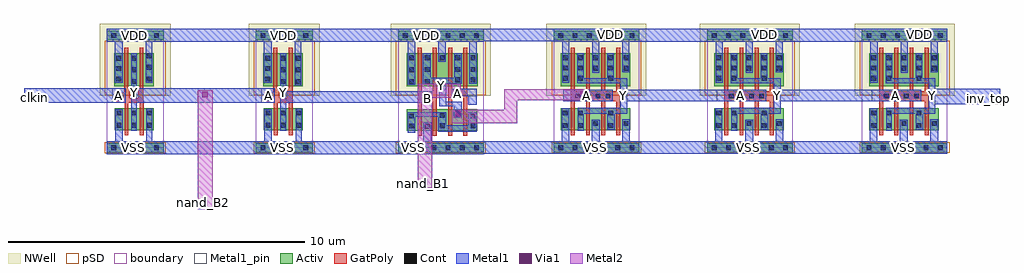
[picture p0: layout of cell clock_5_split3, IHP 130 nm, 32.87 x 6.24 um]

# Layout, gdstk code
import gdstk
lib = gdstk.Library(unit=1e-6, precision=1e-09)
def R(c, l, rs):  # rectangles x0, y0, x1, y1
    for r in rs: c.add(gdstk.rectangle(r[:2], r[2:], *l))
def A(c, l, x, y, w, h, nx, ny, dx, dy):  # array of equal rectangles
    R(c, l, [(x+i*dx, y+j*dy, x+i*dx+w, y+j*dy+h) for i in range(nx) for j in range(ny)])
def P(c, l, *ps):  # polygons
    for p in ps: c.add(gdstk.Polygon(p, *l))
Activ = (1, 0)
GatPoly = (5, 0)
Cont = (6, 0)
Metal1 = (8, 0)
Metal1_pin = (8, 2)
Metal2 = (10, 0)
pSD = (14, 0)
Via1 = (19, 0)
NWell = (31, 0)
boundary = (189, 4)

clock_5_split3 = lib.new_cell('clock_5_split3')
R(clock_5_split3, Activ, [(-0.8,-0.208,1.12,0.092), (4.221,-0.208,6.141,0.092), (9.012,-0.208,11.892,0.092), (14.25,-0.207,17.13,0.093), (19.418,-0.207,22.298,0.093), (24.634,-0.207,27.514,0.093), (9.297,0.517,11.682,1.237), (-0.535,0.532,0.79,1.272), (4.486,0.532,5.811,1.272), (14.495,0.533,16.835,1.273), (19.663,0.533,22.003,1.273), (24.879,0.533,27.219,1.273), (-0.545,2.002,0.78,3.122), (4.476,2.002,5.801,3.122), (9.312,2.002,11.692,3.122), (14.495,2.003,16.835,3.123), (19.663,2.003,22.003,3.123), (24.879,2.003,27.219,3.123), (-0.8,3.572,1.12,3.872), (4.221,3.572,6.141,3.872), (9.012,3.572,11.892,3.872), (14.25,3.573,17.13,3.873), (19.418,3.573,22.298,3.873), (24.634,3.573,27.514,3.873)])
P(clock_5_split3, GatPoly, [(-0.195,0.352),(-0.195,1.462),(-0.495,1.462),(-0.495,1.792),(-0.205,1.792),(-0.205,3.302),(-0.075,3.302),(-0.075,1.927),(-0.015,1.927),(-0.015,1.612),(0.255,1.612),(0.255,1.927),(0.31,1.927),(0.31,3.302),(0.44,3.302),(0.44,1.527),(0.445,1.527),(0.445,0.352),(0.315,0.352),(0.315,1.462),(-0.065,1.462),(-0.065,0.352)],
  [(4.826,0.352),(4.826,1.462),(4.526,1.462),(4.526,1.792),(4.816,1.792),(4.816,3.302),(4.946,3.302),(4.946,1.927),(5.006,1.927),(5.006,1.612),(5.276,1.612),(5.276,1.927),(5.331,1.927),(5.331,3.302),(5.461,3.302),(5.461,1.527),(5.466,1.527),(5.466,0.352),(5.336,0.352),(5.336,1.462),(4.956,1.462),(4.956,0.352)],
  [(9.672,0.337),(9.672,3.302),(9.802,3.302),(9.802,1.817),(10.182,1.817),(10.182,3.302),(10.312,3.302),(10.312,0.337),(10.182,0.337),(10.182,1.507),(9.802,1.507),(9.802,0.337)],
  [(10.702,0.337),(10.702,3.302),(10.832,3.302),(10.832,1.932),(11.212,1.932),(11.212,3.302),(11.342,3.302),(11.342,0.337),(11.212,0.337),(11.212,1.627),(10.832,1.627),(10.832,0.337)],
  [(14.835,0.353),(14.835,3.303),(14.965,3.303),(14.965,1.843),(15.345,1.843),(15.345,3.303),(15.475,3.303),(15.475,1.843),(15.855,1.843),(15.855,3.303),(15.985,3.303),(15.985,1.843),(16.365,1.843),(16.365,3.303),(16.495,3.303),(16.495,0.353),(16.365,0.353),(16.365,1.513),(15.985,1.513),(15.985,0.353),(15.855,0.353),(15.855,1.513),(15.475,1.513),(15.475,0.353),(15.345,0.353),(15.345,1.513),(14.965,1.513),(14.965,0.353)],
  [(20.003,0.353),(20.003,3.303),(20.133,3.303),(20.133,1.843),(20.513,1.843),(20.513,3.303),(20.643,3.303),(20.643,1.843),(21.023,1.843),(21.023,3.303),(21.153,3.303),(21.153,1.843),(21.533,1.843),(21.533,3.303),(21.663,3.303),(21.663,0.353),(21.533,0.353),(21.533,1.513),(21.153,1.513),(21.153,0.353),(21.023,0.353),(21.023,1.513),(20.643,1.513),(20.643,0.353),(20.513,0.353),(20.513,1.513),(20.133,1.513),(20.133,0.353)],
  [(25.219,0.353),(25.219,3.303),(25.349,3.303),(25.349,1.843),(25.729,1.843),(25.729,3.303),(25.859,3.303),(25.859,1.843),(26.239,1.843),(26.239,3.303),(26.369,3.303),(26.369,1.843),(26.749,1.843),(26.749,3.303),(26.879,3.303),(26.879,0.353),(26.749,0.353),(26.749,1.513),(26.369,1.513),(26.369,0.353),(26.239,0.353),(26.239,1.513),(25.859,1.513),(25.859,0.353),(25.729,0.353),(25.729,1.513),(25.349,1.513),(25.349,0.353)])
A(clock_5_split3, Cont, 10.612, -0.138, 0.16, 0.16, 3, 2, 0.48, 3.78)
A(clock_5_split3, Cont, 14.985, 1.598, 0.16, 0.16, 4, 1, 0.34, 0)
A(clock_5_split3, Cont, 20.153, 1.598, 0.16, 0.16, 4, 1, 0.34, 0)
A(clock_5_split3, Cont, 25.369, 1.598, 0.16, 0.16, 4, 1, 0.34, 0)
A(clock_5_split3, Cont, 0.04, 2.087, 0.16, 0.16, 1, 3, 0, 0.395)
A(clock_5_split3, Cont, 5.061, 2.087, 0.16, 0.16, 1, 3, 0, 0.395)
A(clock_5_split3, Cont, 5.571, 2.087, 0.16, 0.16, 1, 3, 0, 0.395)
A(clock_5_split3, Cont, 9.912, 2.092, 0.16, 0.16, 1, 3, 0, 0.4)
A(clock_5_split3, Cont, 0.55, 2.171, 0.16, 0.16, 1, 3, 0, 0.395)
A(clock_5_split3, Cont, 14.565, 2.888, 0.16, 0.16, 5, 1, 0.51, 0)
A(clock_5_split3, Cont, 19.733, 2.888, 0.16, 0.16, 5, 1, 0.51, 0)
A(clock_5_split3, Cont, 24.949, 2.888, 0.16, 0.16, 5, 1, 0.51, 0)
R(clock_5_split3, Cont, [(-0.64,-0.138,-0.48,0.022), (-0.64,-0.138,-0.48,0.022), (-0.16,-0.138,0,0.022), (-0.16,-0.138,0,0.022), (0.32,-0.138,0.48,0.022), (0.32,-0.138,0.48,0.022), (0.8,-0.138,0.96,0.022), (0.8,-0.138,0.96,0.022), (4.381,-0.138,4.541,0.022), (4.381,-0.138,4.541,0.022), (4.861,-0.138,5.021,0.022), (4.861,-0.138,5.021,0.022), (5.341,-0.138,5.501,0.022), (5.341,-0.138,5.501,0.022), (5.821,-0.138,5.981,0.022), (5.821,-0.138,5.981,0.022), (9.172,-0.138,9.332,0.022), (9.172,-0.138,9.332,0.022), (9.652,-0.138,9.812,0.022), (9.652,-0.138,9.812,0.022), (10.132,-0.138,10.292,0.022), (10.132,-0.138,10.292,0.022), (10.612,-0.138,10.772,0.022), (14.41,-0.137,14.57,0.023), (14.41,-0.137,14.57,0.023), (14.89,-0.137,15.05,0.023), (14.89,-0.137,15.05,0.023), (15.37,-0.137,15.53,0.023), (15.37,-0.137,15.53,0.023), (15.85,-0.137,16.01,0.023), (15.85,-0.137,16.01,0.023), (16.33,-0.137,16.49,0.023), (16.33,-0.137,16.49,0.023), (16.81,-0.137,16.97,0.023), (16.81,-0.137,16.97,0.023), (19.578,-0.137,19.738,0.023), (19.578,-0.137,19.738,0.023), (20.058,-0.137,20.218,0.023), (20.058,-0.137,20.218,0.023), (20.538,-0.137,20.698,0.023), (20.538,-0.137,20.698,0.023), (21.018,-0.137,21.178,0.023), (21.018,-0.137,21.178,0.023), (21.498,-0.137,21.658,0.023), (21.498,-0.137,21.658,0.023), (21.978,-0.137,22.138,0.023), (21.978,-0.137,22.138,0.023), (24.794,-0.137,24.954,0.023), (24.794,-0.137,24.954,0.023), (25.274,-0.137,25.434,0.023), (25.274,-0.137,25.434,0.023), (25.754,-0.137,25.914,0.023), (25.754,-0.137,25.914,0.023), (26.234,-0.137,26.394,0.023), (26.234,-0.137,26.394,0.023), (26.714,-0.137,26.874,0.023), (26.714,-0.137,26.874,0.023), (27.194,-0.137,27.354,0.023), (27.194,-0.137,27.354,0.023), (9.912,0.587,10.072,0.747), (9.392,0.592,9.552,0.752), (11.452,0.592,11.612,0.752), (10.422,0.602,10.582,0.762), (14.565,0.608,14.725,0.768), (15.075,0.608,15.235,0.768), (16.095,0.608,16.255,0.768), (19.733,0.608,19.893,0.768), (20.243,0.608,20.403,0.768), (21.263,0.608,21.423,0.768), (24.949,0.608,25.109,0.768), (25.459,0.608,25.619,0.768), (26.479,0.608,26.639,0.768), (-0.465,0.617,-0.305,0.777), (0.045,0.617,0.205,0.777), (0.56,0.617,0.72,0.777), (4.556,0.617,4.716,0.777), (5.066,0.617,5.226,0.777), (5.581,0.617,5.741,0.777), (15.585,0.678,15.745,0.838), (16.605,0.678,16.765,0.838), (20.753,0.678,20.913,0.838), (21.773,0.678,21.933,0.838), (25.969,0.678,26.129,0.838), (26.989,0.678,27.149,0.838), (9.387,0.932,9.547,1.092), (11.452,0.932,11.612,1.092), (10.422,0.947,10.582,1.107), (10.942,0.992,11.102,1.152), (-0.465,1.032,-0.305,1.192), (0.045,1.032,0.205,1.192), (0.56,1.032,0.72,1.192), (4.556,1.032,4.716,1.192), (5.066,1.032,5.226,1.192), (5.581,1.032,5.741,1.192), (14.565,1.033,14.725,1.193), (15.075,1.033,15.235,1.193), (16.095,1.033,16.255,1.193), (19.733,1.033,19.893,1.193), (20.243,1.033,20.403,1.193), (21.263,1.033,21.423,1.193), (24.949,1.033,25.109,1.193), (25.459,1.033,25.619,1.193), (26.479,1.033,26.639,1.193), (10.942,1.05,11.102,1.21), (-0.41,1.547,-0.25,1.707), (4.611,1.547,4.771,1.707), (9.912,1.582,10.072,1.742), (10.942,1.702,11.102,1.862), (9.382,2.082,9.542,2.242), (10.942,2.152,11.102,2.312), (11.452,2.152,11.612,2.312), (-0.475,2.177,-0.315,2.337), (4.546,2.177,4.706,2.337), (14.565,2.198,14.725,2.358), (15.075,2.198,15.235,2.358), (16.095,2.198,16.255,2.358), (19.733,2.198,19.893,2.358), (20.243,2.198,20.403,2.358), (21.263,2.198,21.423,2.358), (24.949,2.198,25.109,2.358), (25.459,2.198,25.619,2.358), (26.479,2.198,26.639,2.358), (9.382,2.482,9.542,2.642), (10.942,2.492,11.102,2.652), (11.452,2.492,11.612,2.652), (-0.475,2.532,-0.315,2.692), (4.546,2.532,4.706,2.692), (15.585,2.538,15.745,2.698), (16.605,2.538,16.765,2.698), (20.753,2.538,20.913,2.698), (21.773,2.538,21.933,2.698), (25.969,2.538,26.129,2.698), (26.989,2.538,27.149,2.698), (14.565,2.548,14.725,2.708), (15.075,2.548,15.235,2.708), (16.095,2.548,16.255,2.708), (19.733,2.548,19.893,2.708), (20.243,2.548,20.403,2.708), (21.263,2.548,21.423,2.708), (24.949,2.548,25.109,2.708), (25.459,2.548,25.619,2.708), (26.479,2.548,26.639,2.708), (-0.475,2.877,-0.315,3.037), (4.546,2.877,4.706,3.037), (9.382,2.892,9.542,3.052), (10.422,2.892,10.582,3.052), (10.942,2.892,11.102,3.052), (11.452,2.892,11.612,3.052), (-0.64,3.642,-0.48,3.802), (-0.64,3.642,-0.48,3.802), (-0.16,3.642,0,3.802), (-0.16,3.642,0,3.802), (0.32,3.642,0.48,3.802), (0.32,3.642,0.48,3.802), (0.8,3.642,0.96,3.802), (0.8,3.642,0.96,3.802), (4.381,3.642,4.541,3.802), (4.381,3.642,4.541,3.802), (4.861,3.642,5.021,3.802), (4.861,3.642,5.021,3.802), (5.341,3.642,5.501,3.802), (5.341,3.642,5.501,3.802), (5.821,3.642,5.981,3.802), (5.821,3.642,5.981,3.802), (9.172,3.642,9.332,3.802), (9.172,3.642,9.332,3.802), (9.652,3.642,9.812,3.802), (9.652,3.642,9.812,3.802), (10.132,3.642,10.292,3.802), (10.132,3.642,10.292,3.802), (10.612,3.642,10.772,3.802), (14.41,3.643,14.57,3.803), (14.41,3.643,14.57,3.803), (14.89,3.643,15.05,3.803), (14.89,3.643,15.05,3.803), (15.37,3.643,15.53,3.803), (15.37,3.643,15.53,3.803), (15.85,3.643,16.01,3.803), (15.85,3.643,16.01,3.803), (16.33,3.643,16.49,3.803), (16.33,3.643,16.49,3.803), (16.81,3.643,16.97,3.803), (16.81,3.643,16.97,3.803), (19.578,3.643,19.738,3.803), (19.578,3.643,19.738,3.803), (20.058,3.643,20.218,3.803), (20.058,3.643,20.218,3.803), (20.538,3.643,20.698,3.803), (20.538,3.643,20.698,3.803), (21.018,3.643,21.178,3.803), (21.018,3.643,21.178,3.803), (21.498,3.643,21.658,3.803), (21.498,3.643,21.658,3.803), (21.978,3.643,22.138,3.803), (21.978,3.643,22.138,3.803), (24.794,3.643,24.954,3.803), (24.794,3.643,24.954,3.803), (25.274,3.643,25.434,3.803), (25.274,3.643,25.434,3.803), (25.754,3.643,25.914,3.803), (25.754,3.643,25.914,3.803), (26.234,3.643,26.394,3.803), (26.234,3.643,26.394,3.803), (26.714,3.643,26.874,3.803), (26.714,3.643,26.874,3.803), (27.194,3.643,27.354,3.803), (27.194,3.643,27.354,3.803)])
R(clock_5_split3, Metal1, [(-3.584,1.462,-0.165,1.942), (14.575,1.513,16.25,1.893)])
P(clock_5_split3, Metal1, [(9.337,0.442),(9.337,1.142),(10.632,1.142),(10.632,0.702),(11.382,0.702),(11.382,1.142),(11.662,1.142),(11.662,0.472),(10.362,0.472),(10.362,0.977),(9.597,0.977),(9.597,0.442)],
  [(-0.8,-0.278),(-0.8,0.162),(-0.515,0.162),(-0.515,1.242),(-0.255,1.242),(-0.255,0.162),(0.54,0.162),(0.54,1.247),(0.74,1.247),(0.74,0.162),(4.506,0.162),(4.506,1.242),(4.766,1.242),(4.766,0.162),(5.561,0.162),(5.561,1.247),(5.761,1.247),(5.761,0.162),(9.862,0.162),(9.862,0.797),(10.122,0.797),(10.122,0.162),(11.892,0.162),(11.892,0.153),(14.52,0.153),(14.52,1.268),(14.77,1.268),(14.77,0.153),(15.53,0.153),(15.53,0.888),(15.8,0.888),(15.8,0.163),(16.555,0.163),(16.555,0.893),(16.815,0.893),(16.815,0.153),(19.688,0.153),(19.688,1.268),(19.938,1.268),(19.938,0.153),(20.698,0.153),(20.698,0.888),(20.968,0.888),(20.968,0.163),(21.723,0.163),(21.723,0.893),(21.983,0.893),(21.983,0.153),(24.904,0.153),(24.904,1.268),(25.154,1.268),(25.154,0.153),(25.914,0.153),(25.914,0.888),(26.184,0.888),(26.184,0.163),(26.939,0.163),(26.939,0.893),(27.199,0.893),(27.199,0.153),(27.514,0.153),(27.514,-0.267),(11.892,-0.267),(11.892,-0.278)],
  [(11.382,1.382),(11.382,1.672),(10.827,1.672),(10.827,1.922),(11.657,1.922),(11.657,1.382)],
  [(0.025,0.512),(0.025,3.122),(0.22,3.122),(0.22,1.942),(4.856,1.942),(4.856,1.462),(0.22,1.462),(0.22,0.512)],
  [(5.046,0.512),(5.046,3.122),(5.241,3.122),(5.241,1.84),(10.162,1.84),(10.162,1.456),(5.241,1.456),(5.241,0.512)],
  [(10.892,0.942),(10.892,1.332),(10.392,1.332),(10.392,2.082),(9.852,2.082),(9.852,3.122),(10.112,3.122),(10.112,2.302),(10.902,2.302),(10.902,3.122),(11.162,3.122),(11.162,2.102),(10.632,2.102),(10.632,1.492),(11.152,1.492),(11.152,0.942)],
  [(15.065,0.513),(15.065,1.283),(16.495,1.283),(16.495,2.113),(15.05,2.113),(15.05,3.123),(15.265,3.123),(15.265,2.283),(16.065,2.283),(16.065,3.118),(16.28,3.118),(16.28,2.283),(16.725,2.283),(16.725,1.893),(21.418,1.893),(21.418,1.513),(16.725,1.513),(16.725,1.088),(16.31,1.088),(16.31,0.538),(16.055,0.538),(16.055,1.088),(15.26,1.088),(15.26,0.513)],
  [(20.233,0.513),(20.233,1.283),(21.663,1.283),(21.663,2.113),(20.218,2.113),(20.218,3.123),(20.433,3.123),(20.433,2.283),(21.233,2.283),(21.233,3.118),(21.448,3.118),(21.448,2.283),(21.893,2.283),(21.893,1.893),(26.634,1.893),(26.634,1.513),(21.893,1.513),(21.893,1.088),(21.478,1.088),(21.478,0.538),(21.223,0.538),(21.223,1.088),(20.428,1.088),(20.428,0.513)],
  [(25.449,0.513),(25.449,1.283),(26.879,1.283),(26.879,2.113),(25.434,2.113),(25.434,3.123),(25.649,3.123),(25.649,2.283),(26.449,2.283),(26.449,3.118),(26.664,3.118),(26.664,2.283),(27.109,2.283),(27.109,1.926),(29.283,1.926),(29.283,1.397),(27.109,1.397),(27.109,1.088),(26.694,1.088),(26.694,0.538),(26.439,0.538),(26.439,1.088),(25.644,1.088),(25.644,0.513)],
  [(5.541,2.037),(5.541,3.502),(4.756,3.502),(4.756,2.127),(4.496,2.127),(4.496,3.502),(0.735,3.502),(0.735,2.131),(0.52,2.131),(0.52,3.502),(-0.265,3.502),(-0.265,2.127),(-0.525,2.127),(-0.525,3.502),(-0.8,3.502),(-0.8,3.942),(11.761,3.942),(11.761,3.943),(27.514,3.943),(27.514,3.503),(27.184,3.503),(27.184,2.483),(26.954,2.483),(26.954,3.503),(26.174,3.503),(26.174,2.473),(25.934,2.473),(25.934,3.503),(25.164,3.503),(25.164,2.133),(24.919,2.133),(24.919,3.503),(21.968,3.503),(21.968,2.483),(21.738,2.483),(21.738,3.503),(20.958,3.503),(20.958,2.473),(20.718,2.473),(20.718,3.503),(19.948,3.503),(19.948,2.133),(19.703,2.133),(19.703,3.503),(16.8,3.503),(16.8,2.483),(16.57,2.483),(16.57,3.503),(15.79,3.503),(15.79,2.473),(15.55,2.473),(15.55,3.503),(14.78,3.503),(14.78,2.133),(14.535,2.133),(14.535,3.503),(11.892,3.503),(11.892,3.502),(11.662,3.502),(11.662,2.102),(11.402,2.102),(11.402,3.502),(10.622,3.502),(10.622,2.842),(10.362,2.842),(10.362,3.502),(9.592,3.502),(9.592,2.067),(9.332,2.067),(9.332,3.502),(5.756,3.502),(5.756,2.037)])
R(clock_5_split3, Metal1_pin, [(-0.8,-0.278,1.12,0.162), (4.221,-0.278,6.141,0.162), (9.012,-0.278,11.892,0.162), (14.25,-0.267,17.13,0.153), (19.418,-0.267,22.298,0.153), (24.634,-0.267,27.514,0.153), (0.025,0.512,0.22,3.122), (5.046,0.512,5.241,3.122), (16.495,1.088,16.725,2.283), (21.663,1.088,21.893,2.283), (26.879,1.088,27.109,2.283), (10.392,1.332,10.632,2.302), (9.832,1.456,10.162,1.84), (-0.62,1.462,-0.165,1.942), (4.401,1.462,4.856,1.942), (14.575,1.513,16.25,1.893), (19.743,1.513,21.418,1.893), (24.959,1.513,26.634,1.893), (10.827,1.672,11.657,1.922), (-0.8,3.502,1.12,3.942), (4.221,3.502,6.141,3.942), (9.012,3.502,11.892,3.942), (14.25,3.503,17.13,3.943), (19.418,3.503,22.298,3.943), (24.634,3.503,27.514,3.943)])
R(clock_5_split3, Metal2, [(2.266,-2.13,2.764,1.876)])
P(clock_5_split3, Metal2, [(9.669,-1.418),(9.669,2.091),(11.125,2.091),(11.125,1.631),(10.17,1.631),(10.17,-1.418)],
  [(10.82,0.772),(10.82,1.223),(12.593,1.223),(12.593,1.908),(15.376,1.908),(15.376,1.536),(13.024,1.536),(13.024,0.772)])
R(clock_5_split3, pSD, [(-0.87,-0.238,1.19,0.122), (4.151,-0.238,6.211,0.122), (8.942,-0.238,11.962,0.122), (14.18,-0.237,17.2,0.123), (19.348,-0.237,22.368,0.123), (24.564,-0.237,27.584,0.123), (-0.87,1.702,1.19,3.542), (4.151,1.702,6.211,3.542), (8.942,1.702,11.962,3.542), (14.18,1.703,17.2,3.543), (19.348,1.703,22.368,3.543), (24.564,1.703,27.584,3.543)])
R(clock_5_split3, Via1, [(2.417,-1.996,2.607,-1.806), (9.827,-1.301,10.017,-1.111), (10.933,0.986,11.123,1.176), (2.417,1.635,2.607,1.825), (15.155,1.659,15.345,1.849), (10.865,1.702,11.055,1.892)])
R(clock_5_split3, NWell, [(-1.04,1.692,1.36,4.112), (3.981,1.692,6.381,4.112), (8.772,1.692,12.132,4.112), (14.01,1.693,17.37,4.113), (19.178,1.693,22.538,4.113), (24.394,1.693,27.754,4.113)])
R(clock_5_split3, boundary, [(-0.8,-0.058,1.12,3.722), (4.221,-0.058,6.141,3.722), (9.012,-0.058,11.892,3.722), (14.25,-0.057,17.13,3.723), (19.418,-0.057,22.298,3.723), (24.634,-0.057,27.514,3.723)])
clock_5_split3.add(gdstk.Label('VSS', (0.09,-0.058), layer=8, texttype=25))
clock_5_split3.add(gdstk.Label('VDD', (0.135,3.727), layer=8, texttype=25))
clock_5_split3.add(gdstk.Label('Y', (0.125,1.797), layer=8, texttype=25))
clock_5_split3.add(gdstk.Label('A', (-0.385,1.692), layer=8, texttype=25))
clock_5_split3.add(gdstk.Label('VSS', (5.111,-0.058), layer=8, texttype=25))
clock_5_split3.add(gdstk.Label('VDD', (5.156,3.727), layer=8, texttype=25))
clock_5_split3.add(gdstk.Label('Y', (5.146,1.797), layer=8, texttype=25))
clock_5_split3.add(gdstk.Label('A', (4.636,1.692), layer=8, texttype=25))
clock_5_split3.add(gdstk.Label('Y', (10.492,2.047), layer=8, texttype=25))
clock_5_split3.add(gdstk.Label('VDD', (9.982,3.722), layer=8, texttype=25))
clock_5_split3.add(gdstk.Label('A', (11.022,1.782), layer=8, texttype=25))
clock_5_split3.add(gdstk.Label('VSS', (9.522,-0.058), layer=8, texttype=25))
clock_5_split3.add(gdstk.Label('B', (9.992,1.597), layer=8, texttype=25))
clock_5_split3.add(gdstk.Label('A', (15.37,1.703), layer=8, texttype=25))
clock_5_split3.add(gdstk.Label('VDD', (16.175,3.743), layer=8, texttype=25))
clock_5_split3.add(gdstk.Label('Y', (16.61,1.698), layer=8, texttype=25))
clock_5_split3.add(gdstk.Label('VSS', (15.655,-0.052), layer=8, texttype=25))
clock_5_split3.add(gdstk.Label('A', (20.538,1.703), layer=8, texttype=25))
clock_5_split3.add(gdstk.Label('VDD', (21.343,3.743), layer=8, texttype=25))
clock_5_split3.add(gdstk.Label('Y', (21.778,1.698), layer=8, texttype=25))
clock_5_split3.add(gdstk.Label('VSS', (20.823,-0.052), layer=8, texttype=25))
clock_5_split3.add(gdstk.Label('A', (25.754,1.703), layer=8, texttype=25))
clock_5_split3.add(gdstk.Label('VDD', (26.559,3.743), layer=8, texttype=25))
clock_5_split3.add(gdstk.Label('Y', (26.994,1.698), layer=8, texttype=25))
clock_5_split3.add(gdstk.Label('VSS', (26.039,-0.052), layer=8, texttype=25))
clock_5_split3.add(gdstk.Label('nand_B1', (9.878,-1.258), layer=10, texttype=1))
clock_5_split3.add(gdstk.Label('nand_B2', (2.465,-1.889), layer=10, texttype=1))
clock_5_split3.add(gdstk.Label('clkin', (-3.215,1.641), layer=8, texttype=1))
clock_5_split3.add(gdstk.Label('inv_top', (28.885,1.597), layer=8, texttype=1))

lib.write_gds('clock_5_split3.gds')
